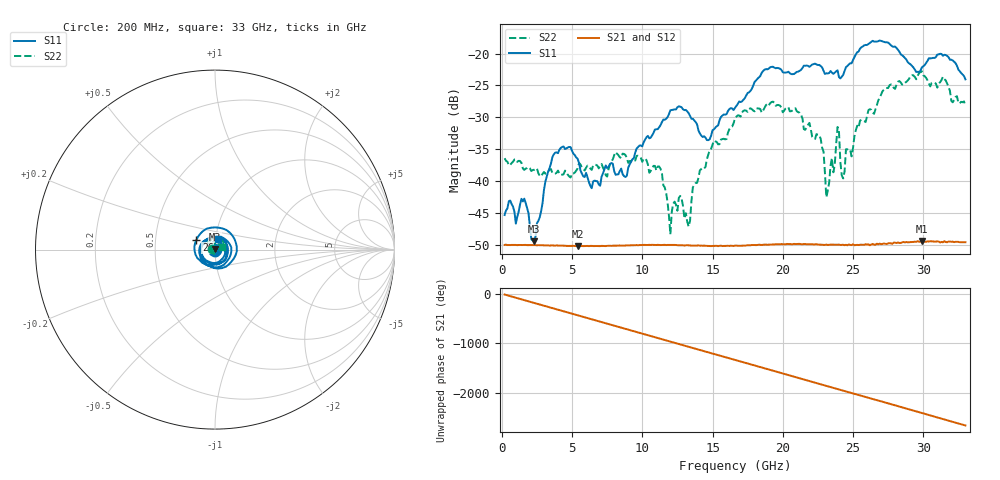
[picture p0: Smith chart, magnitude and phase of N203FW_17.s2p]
# GHZ S RI R 50
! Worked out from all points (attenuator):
!   329 points, 200 MHz to 33 GHz, reference 50 ohm
!   highest |S21| = -49.33 dB at 29.9 GHz (marker M1); lowest = -50.1 dB at 5.4 GHz (marker M2)
!   lowest |S11| = -49.4 dB at 2.3 GHz (marker M3), VSWR 1.01, Z = 50.1 + j0.326 ohm
!   |S11| at or under -10 dB: start of sweep to end of sweep
!   |S22| runs from -48.3 to -22.8 dB; largest |S21 - S12| = 8.8e-05
!   S11 on the Smith chart (normalised r, x): 200 MHz: 1.01, +0.00; 26 GHz: 0.81, +0.09; 33 GHz: 1.03, +0.12
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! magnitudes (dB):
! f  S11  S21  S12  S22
! 200 MHz  -45.3  -49.9  -49.9  -36.4
! 1.6 GHz  -42.7  -50.0  -50.0  -38.2
! 2.3 GHz  -49.4  -50.0  -50.0  -38.2
! 3.7 GHz  -35.8  -50.1  -50.0  -38.8
! 5.4 GHz  -36.5  -50.1  -50.1  -38.0
! 5.7 GHz  -38.8  -50.1  -50.1  -37.9
! 8.8 GHz  -39.3  -50.0  -50.0  -35.9
! 11.2 GHz  -31.5  -50.0  -49.9  -37.7
! 12 GHz  -28.9  -50.0  -50.0  -48.3
! 12.7 GHz  -28.3  -50.0  -50.0  -42.3
! 13.3 GHz  -29.3  -50.0  -50.1  -47.1
! 14.1 GHz  -32.5  -50.1  -50.1  -38.3
! 16.6 GHz  -28.5  -50.1  -50.1  -30.1
! 22.1 GHz  -21.7  -49.9  -49.8  -33.1
! 22.7 GHz  -22.0  -49.9  -49.9  -33.3
! 23.1 GHz  -23.1  -49.9  -49.9  -42.5
! 23.9 GHz  -22.6  -49.9  -49.9  -31.5
! 24.3 GHz  -23.3  -49.9  -49.9  -39.5
! 26 GHz  -18.7  -49.9  -49.9  -29.7
! 27.6 GHz  -18.5  -49.7  -49.7  -25.0
! 29.9 GHz  -22.2  -49.3  -49.5  -22.8
! 33 GHz  -24.0  -49.5  -49.6  -28.1
